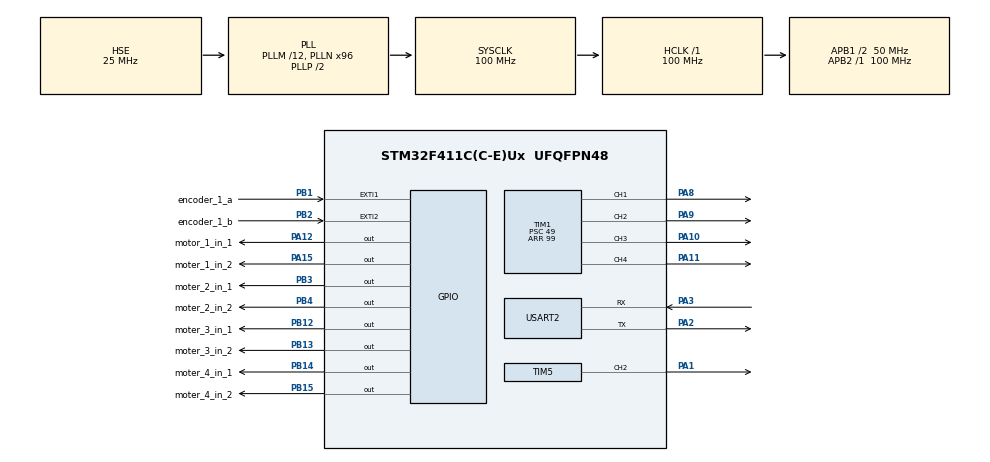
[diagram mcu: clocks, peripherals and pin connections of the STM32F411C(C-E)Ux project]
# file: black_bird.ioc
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FREERTOS.Queues01=q_read_to_uart,16,uint16_t,0,Dynamic,NULL,NULL;q_uart_to_operate,16,uint16_t,0,Dynamic,NULL,NULL;q_operate_to_read,16,uint16_t,0,Dynamic,NULL,NULL
FREERTOS.Tasks01=t_read,32,128,start_t_read,Default,NULL,Dynamic,NULL,NULL;t_uart,24,128,start_t_uart,Default,NULL,Dynamic,NULL,NULL;t_operate,24,128,start_t_operate,Default,NULL,Dynamic,NULL,NULL
Mcu.Family=STM32F4
Mcu.Name=STM32F411C(C-E)Ux
Mcu.Package=UFQFPN48
NVIC.EXTI1_IRQn=true\:6\:0\:true\:false\:true\:true\:true\:true\:true
NVIC.EXTI2_IRQn=true\:6\:0\:true\:false\:true\:true\:true\:true\:true
NVIC.PriorityGroup=NVIC_PRIORITYGROUP_4
NVIC.RCC_IRQn=true\:5\:0\:false\:false\:true\:true\:true\:false\:true
NVIC.TIM1_BRK_TIM9_IRQn=true\:7\:0\:true\:false\:true\:true\:true\:true\:true
NVIC.TIM1_CC_IRQn=true\:7\:0\:true\:false\:true\:true\:true\:true\:true
NVIC.TIM1_TRG_COM_TIM11_IRQn=true\:7\:0\:true\:false\:true\:true\:true\:true\:true
NVIC.TIM1_UP_TIM10_IRQn=true\:7\:0\:true\:false\:true\:true\:true\:true\:true
NVIC.TIM4_IRQn=true\:15\:0\:false\:false\:true\:false\:false\:true\:true
NVIC.TIM5_IRQn=true\:7\:0\:true\:false\:true\:true\:true\:true\:true
NVIC.TimeBase=TIM4_IRQn
NVIC.TimeBaseIP=TIM4
NVIC.USART2_IRQn=true\:6\:0\:true\:false\:true\:true\:true\:true\:true
PA1.Signal=S_TIM5_CH2
PA10.Signal=S_TIM1_CH3
PA11.Signal=S_TIM1_CH4
PA12.GPIO_Label=motor_1_in_1
PA12.GPIO_Speed=GPIO_SPEED_FREQ_VERY_HIGH
PA12.Signal=GPIO_Output
PA13.Mode=Serial_Wire
PA13.Signal=SYS_JTMS-SWDIO
PA14.Mode=Serial_Wire
PA14.Signal=SYS_JTCK-SWCLK
PA15.GPIO_Label=moter_1_in_2
PA15.GPIO_Speed=GPIO_SPEED_FREQ_VERY_HIGH
PA15.PinState=GPIO_PIN_SET
PA15.Signal=GPIO_Output
PA2.Mode=Asynchronous
PA2.Signal=USART2_TX
PA3.Mode=Asynchronous
PA3.Signal=USART2_RX
PA8.Signal=S_TIM1_CH1
PA9.Signal=S_TIM1_CH2
PB1.GPIO_Label=encoder_1_a
PB1.GPIO_ModeDefaultEXTI=GPIO_MODE_IT_FALLING
PB1.Signal=GPXTI1
PB12.GPIO_Label=moter_3_in_1
PB12.GPIO_Speed=GPIO_SPEED_FREQ_VERY_HIGH
PB12.Signal=GPIO_Output
PB13.GPIO_Label=moter_3_in_2
PB13.GPIO_Speed=GPIO_SPEED_FREQ_VERY_HIGH
PB13.PinState=GPIO_PIN_SET
PB13.Signal=GPIO_Output
PB14.GPIO_Label=moter_4_in_1
PB14.GPIO_Speed=GPIO_SPEED_FREQ_VERY_HIGH
PB14.Signal=GPIO_Output
PB15.GPIO_Label=moter_4_in_2
PB15.GPIO_Speed=GPIO_SPEED_FREQ_VERY_HIGH
PB15.PinState=GPIO_PIN_SET
PB15.Signal=GPIO_Output
PB2.GPIO_Label=encoder_1_b
PB2.GPIO_ModeDefaultEXTI=GPIO_MODE_IT_FALLING
PB2.Signal=GPXTI2
PB3.GPIO_Label=moter_2_in_1
PB3.GPIO_Speed=GPIO_SPEED_FREQ_VERY_HIGH
PB3.PinState=GPIO_PIN_RESET
PB3.Signal=GPIO_Output
PB4.GPIO_Label=moter_2_in_2
PB4.GPIO_Speed=GPIO_SPEED_FREQ_VERY_HIGH
PB4.PinState=GPIO_PIN_SET
PB4.Signal=GPIO_Output
PH0\ -\ OSC_IN.Mode=HSE-External-Oscillator
PH0\ -\ OSC_IN.Signal=RCC_OSC_IN
PH1\ -\ OSC_OUT.Mode=HSE-External-Oscillator
PH1\ -\ OSC_OUT.Signal=RCC_OSC_OUT
ProjectManager.HeapSize=0x200
ProjectManager.StackSize=0x400
ProjectManager.TargetToolchain=STM32CubeIDE
RCC.48MHZClocksFreq_Value=50000000
RCC.AHBFreq_Value=100000000
RCC.APB1CLKDivider=RCC_HCLK_DIV2
RCC.APB1Freq_Value=50000000
RCC.APB1TimFreq_Value=100000000
RCC.APB2Freq_Value=100000000
RCC.APB2TimFreq_Value=100000000
RCC.CortexFreq_Value=100000000
RCC.HCLKFreq_Value=100000000
RCC.HSE_VALUE=25000000
RCC.HSI_VALUE=16000000
RCC.LSE_VALUE=32768
RCC.PLLM=12
RCC.PLLN=96
RCC.PLLSourceVirtual=RCC_PLLSOURCE_HSE
RCC.SYSCLKFreq_VALUE=100000000
RCC.SYSCLKSource=RCC_SYSCLKSOURCE_PLLCLK
RCC.VCOOutputFreq_Value=200000000
SH.S_TIM1_CH1.0=TIM1_CH1,PWM Generation1 CH1
SH.S_TIM1_CH2.0=TIM1_CH2,PWM Generation2 CH2
SH.S_TIM1_CH3.0=TIM1_CH3,PWM Generation3 CH3
SH.S_TIM1_CH4.0=TIM1_CH4,PWM Generation4 CH4
SH.S_TIM5_CH2.0=TIM5_CH2,PWM Generation2 CH2
TIM1.Channel-PWM\ Generation1\ CH1=TIM_CHANNEL_1
TIM1.Channel-PWM\ Generation2\ CH2=TIM_CHANNEL_2
TIM1.Channel-PWM\ Generation3\ CH3=TIM_CHANNEL_3
TIM1.Channel-PWM\ Generation4\ CH4=TIM_CHANNEL_4
TIM1.OCMode_PWM-PWM\ Generation1\ CH1=TIM_OCMODE_PWM1
TIM1.OCMode_PWM-PWM\ Generation2\ CH2=TIM_OCMODE_PWM1
TIM1.OCMode_PWM-PWM\ Generation3\ CH3=TIM_OCMODE_PWM1
TIM1.OCMode_PWM-PWM\ Generation4\ CH4=TIM_OCMODE_PWM1
TIM1.Period=99
TIM1.Prescaler=49
TIM1.RepetitionCounter=0
TIM5.Channel-PWM\ Generation2\ CH2=TIM_CHANNEL_2
TIM5.OCMode_PWM-PWM\ Generation2\ CH2=TIM_OCMODE_PWM2
TIM5.Period=99
TIM5.Prescaler=49
USART2.VirtualMode=VM_ASYNC
VP_FREERTOS_VS_CMSIS_V2.Mode=CMSIS_V2
VP_SYS_VS_tim4.Mode=TIM4
board=custom

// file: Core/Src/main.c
/* USER CODE BEGIN Header */
/**
  ******************************************************************************
  * @file           : main.c
  * @brief          : Main program body
  ******************************************************************************
  * @attention
  *
  * Copyright (c) 2024 STMicroelectronics.
  * All rights reserved.
  *
  * This software is licensed under terms that can be found in the LICENSE file
  * in the root directory of this software component.
  * If no LICENSE file comes with this software, it is provided AS-IS.
  *
  ******************************************************************************
  */
/* USER CODE END Header */
#include "main.h"
#include "cmsis_os.h"
#include "tim.h"
#include "usart.h"
#include "gpio.h"

void SystemClock_Config(void);
void MX_FREERTOS_Init(void);

int main(void)
{

  /* MCU Configuration--------------------------------------------------------*/

  /* Reset of all peripherals, Initializes the Flash interface and the Systick. */
  HAL_Init();

  /* Configure the system clock */
  SystemClock_Config();

  /* Initialize all configured peripherals */
  MX_GPIO_Init();
  MX_TIM1_Init();
  MX_TIM5_Init();
  MX_USART2_UART_Init();

  /* Init scheduler */
  osKernelInitialize();

  /* Call init function for freertos objects (in cmsis_os2.c) */
  MX_FREERTOS_Init();

  /* Start scheduler */
  osKernelStart();

  /* We should never get here as control is now taken by the scheduler */

  /* Infinite loop */
  while (1)
  {

  }
}

void SystemClock_Config(void)
{
  RCC_OscInitTypeDef RCC_OscInitStruct = {0};
  RCC_ClkInitTypeDef RCC_ClkInitStruct = {0};

  /** Configure the main internal regulator output voltage
  */
  __HAL_RCC_PWR_CLK_ENABLE();
  __HAL_PWR_VOLTAGESCALING_CONFIG(PWR_REGULATOR_VOLTAGE_SCALE1);

  /** Initializes the RCC Oscillators according to the specified parameters
  * in the RCC_OscInitTypeDef structure.
  */
  RCC_OscInitStruct.OscillatorType = RCC_OSCILLATORTYPE_HSE;
  RCC_OscInitStruct.HSEState = RCC_HSE_ON;
  RCC_OscInitStruct.PLL.PLLState = RCC_PLL_ON;
  RCC_OscInitStruct.PLL.PLLSource = RCC_PLLSOURCE_HSE;
  RCC_OscInitStruct.PLL.PLLM = 12;
  RCC_OscInitStruct.PLL.PLLN = 96;
  RCC_OscInitStruct.PLL.PLLP = RCC_PLLP_DIV2;
  RCC_OscInitStruct.PLL.PLLQ = 4;
  if (HAL_RCC_OscConfig(&RCC_OscInitStruct) != HAL_OK)
  {
    Error_Handler();
  }

  /** Initializes the CPU, AHB and APB buses clocks
  */
  RCC_ClkInitStruct.ClockType = RCC_CLOCKTYPE_HCLK|RCC_CLOCKTYPE_SYSCLK
                              |RCC_CLOCKTYPE_PCLK1|RCC_CLOCKTYPE_PCLK2;
  RCC_ClkInitStruct.SYSCLKSource = RCC_SYSCLKSOURCE_PLLCLK;
  RCC_ClkInitStruct.AHBCLKDivider = RCC_SYSCLK_DIV1;
  RCC_ClkInitStruct.APB1CLKDivider = RCC_HCLK_DIV2;
  RCC_ClkInitStruct.APB2CLKDivider = RCC_HCLK_DIV1;

  if (HAL_RCC_ClockConfig(&RCC_ClkInitStruct, FLASH_LATENCY_3) != HAL_OK)
  {
    Error_Handler();
  }
}

void HAL_TIM_PeriodElapsedCallback(TIM_HandleTypeDef *htim)
{
  if (htim->Instance == TIM4) {
    HAL_IncTick();
  }
}

void Error_Handler(void)
{
  __disable_irq();
  while (1)
  {
  }
}

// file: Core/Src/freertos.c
/* USER CODE BEGIN Header */
/**
  ******************************************************************************
  * File Name          : freertos.c
  * Description        : Code for freertos applications
  ******************************************************************************
  * @attention
  *
  * Copyright (c) 2024 STMicroelectronics.
  * All rights reserved.
  *
  * This software is licensed under terms that can be found in the LICENSE file
  * in the root directory of this software component.
  * If no LICENSE file comes with this software, it is provided AS-IS.
  *
  ******************************************************************************
  */
/* USER CODE END Header */

#include "self.h"

/* Definitions for t_read */
osThreadId_t t_readHandle;
const osThreadAttr_t t_read_attributes = {
  .name = "t_read",
  .stack_size = 128 * 4,
  .priority = (osPriority_t) osPriorityAboveNormal,
};
/* Definitions for t_uart */
osThreadId_t t_uartHandle;
const osThreadAttr_t t_uart_attributes = {
  .name = "t_uart",
  .stack_size = 128 * 4,
  .priority = (osPriority_t) osPriorityNormal,
};
/* Definitions for t_operate */
osThreadId_t t_operateHandle;
const osThreadAttr_t t_operate_attributes = {
  .name = "t_operate",
  .stack_size = 128 * 4,
  .priority = (osPriority_t) osPriorityNormal,
};
/* Definitions for q_read_to_uart */
osMessageQueueId_t q_read_to_uartHandle;
const osMessageQueueAttr_t q_read_to_uart_attributes = {
  .name = "q_read_to_uart"
};
/* Definitions for q_uart_to_operate */
osMessageQueueId_t q_uart_to_operateHandle;
const osMessageQueueAttr_t q_uart_to_operate_attributes = {
  .name = "q_uart_to_operate"
};
/* Definitions for q_operate_to_read */
osMessageQueueId_t q_operate_to_readHandle;
const osMessageQueueAttr_t q_operate_to_read_attributes = {
  .name = "q_operate_to_read"
};

void start_t_read(void *argument);
void start_t_uart(void *argument);
void start_t_operate(void *argument);

void MX_FREERTOS_Init(void); /* (MISRA C 2004 rule 8.1) */

void MX_FREERTOS_Init(void) {

  /* Create the queue(s) */
  /* creation of q_read_to_uart */
  q_read_to_uartHandle = osMessageQueueNew (16, sizeof(uint16_t), &q_read_to_uart_attributes);

  /* creation of q_uart_to_operate */
  q_uart_to_operateHandle = osMessageQueueNew (16, sizeof(uint16_t), &q_uart_to_operate_attributes);

  /* creation of q_operate_to_read */
  q_operate_to_readHandle = osMessageQueueNew (16, sizeof(uint16_t), &q_operate_to_read_attributes);

  /* Create the thread(s) */
  /* creation of t_read */
  t_readHandle = osThreadNew(start_t_read, NULL, &t_read_attributes);

  /* creation of t_uart */
  t_uartHandle = osThreadNew(start_t_uart, NULL, &t_uart_attributes);

  /* creation of t_operate */
  t_operateHandle = osThreadNew(start_t_operate, NULL, &t_operate_attributes);

}

void start_t_read(void *argument)
{
  /* USER CODE BEGIN start_t_read */
  uint32_t notifi_value = 0;
  int16_t control_value = 0, send_value = 0;
  _Bool if_first_read = 1;
  /* Infinite loop */
  for(;;)
  {
    if (if_first_read || (xQueueReceive(q_operate_to_readHandle, &if_first_read, portMAX_DELAY) == pdTRUE))
    {
      xTaskNotifyWait(0, 0xFFFFFFFF, &notifi_value, portMAX_DELAY);

      if (notifi_value & encoder_a_flag)
      {
        if (control_value < 100)
        {
          HAL_UART_Transmit_IT(&huart2, (uint8_t *)"received a\r\n\0", 12);
          control_value += stride;
        }
      }

      if (notifi_value & encoder_b_flag)
      {
        HAL_UART_Transmit_IT(&huart2, (uint8_t *)"received b\r\n\0", 12);
        if (control_value > 0)
        {
          control_value -= stride;
        }
      }

      send_value = (uint8_t) control_value;
      xQueueSendToBack(q_read_to_uartHandle, &send_value, pdMS_TO_TICKS(30));
      if_first_read = 0;
    }
  }
  /* USER CODE END start_t_read */
}

void start_t_uart(void *argument)
{
  /* USER CODE BEGIN start_t_uart */
  int8_t uart_buffer = 0;
  char on_screen[50];
  HAL_UART_Transmit_IT(&huart2, (uint8_t *)"start\r\n", 7);
  /* Infinite loop */
  for(;;)
  {
    if (xQueueReceive(q_read_to_uartHandle, &uart_buffer, portMAX_DELAY) == pdTRUE)
    {
      sprintf(on_screen, "send to operate: %d\r\n", uart_buffer);
      HAL_UART_Transmit_IT(&huart2, (uint8_t *)on_screen, strlen(on_screen));
      xQueueSendToBack(q_uart_to_operateHandle, &uart_buffer, pdMS_TO_TICKS(30));
    }
  }
  /* USER CODE END start_t_uart */
}

void start_t_operate(void *argument)
{
  /* USER CODE BEGIN start_t_operate */
  int8_t operate_buffer = 0;
  _Bool if_not_first_read = 0;

  HAL_TIM_Base_Start_IT(&htim1);
  HAL_TIM_PWM_Start_IT(&htim1, TIM_CHANNEL_1);
  HAL_TIM_Base_Start_IT(&htim1);
  HAL_TIM_PWM_Start_IT(&htim1, TIM_CHANNEL_2);
  HAL_TIM_Base_Start_IT(&htim1);
  HAL_TIM_PWM_Start_IT(&htim1, TIM_CHANNEL_3);
  HAL_TIM_Base_Start_IT(&htim1);
  HAL_TIM_PWM_Start_IT(&htim1, TIM_CHANNEL_4);
  HAL_TIM_Base_Start_IT(&htim5);
  HAL_TIM_PWM_Start_IT(&htim5, TIM_CHANNEL_2);
  /* Infinite loop */
  for(;;)
  {
    if (xQueueReceive(q_uart_to_operateHandle, &operate_buffer, portMAX_DELAY) == pdTRUE)
    {
      __HAL_TIM_SET_COMPARE(&htim5, TIM_CHANNEL_2, operate_buffer);
      __HAL_TIM_SET_COMPARE(&htim1, TIM_CHANNEL_1, operate_buffer);
      __HAL_TIM_SET_COMPARE(&htim1, TIM_CHANNEL_2, operate_buffer);
      __HAL_TIM_SET_COMPARE(&htim1, TIM_CHANNEL_3, operate_buffer);
      __HAL_TIM_SET_COMPARE(&htim1, TIM_CHANNEL_4, operate_buffer);
      xQueueSendToBack(q_operate_to_readHandle, &if_not_first_read, pdMS_TO_TICKS(30));
    }
  }
  /* USER CODE END start_t_operate */
}
